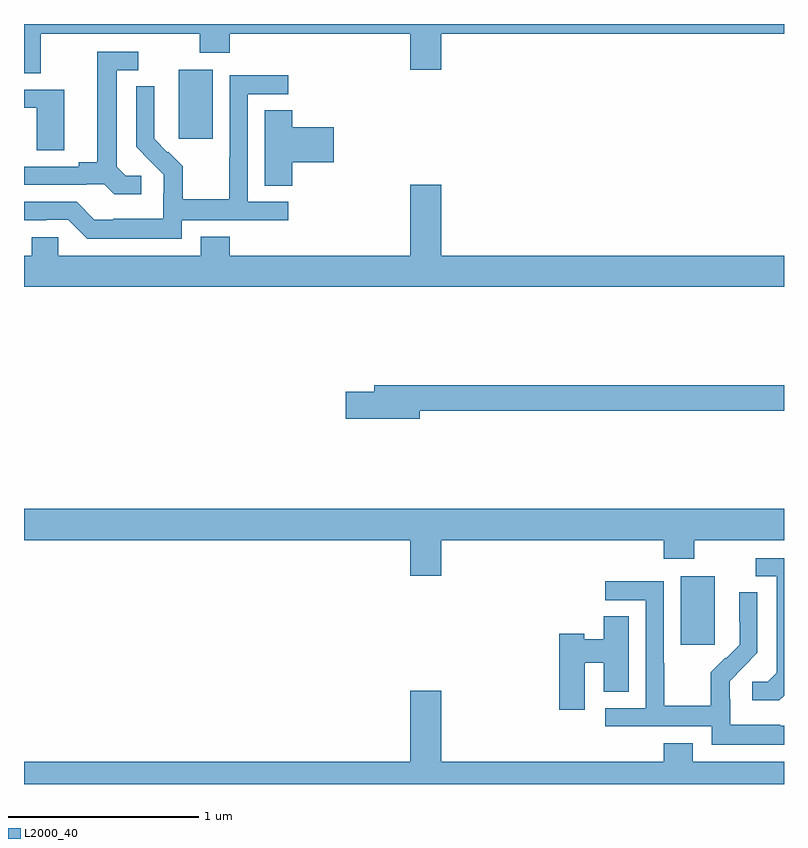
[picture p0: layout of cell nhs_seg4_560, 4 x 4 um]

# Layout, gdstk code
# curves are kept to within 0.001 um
import gdstk
lib = gdstk.Library(unit=1e-6, precision=1e-09)
def R(c, l, rs):  # rectangles x0, y0, x1, y1
    for r in rs: c.add(gdstk.rectangle(r[:2], r[2:], *l))
def P(c, l, *ps):  # polygons
    for p in ps: c.add(gdstk.Polygon(p, *l))
L2000_40 = (2000, 40)

nhs_seg4_560 = lib.new_cell('nhs_seg4_560')
R(nhs_seg4_560, L2000_40, [(142.457,765.633,142.636,765.994), (139.814,768.297,139.993,768.658)])
P(nhs_seg4_560, L2000_40, [(139.087,768.848),(139.924,768.848),(139.924,768.749),(140.084,768.749),(140.084,768.848),(141.032,768.848),(141.032,768.66),(141.196,768.66),(141.196,768.848),(143,768.848),(143,768.9),(139,768.9),(139,768.64),(139.087,768.64)],
  [(139.618,768.102),(139.536,768.102),(139.489,768.149),(139.489,768.657),(139.6,768.657),(139.6,768.753),(139.385,768.753),(139.385,768.173),(139.289,768.173),(139.289,768.15),(139,768.15),(139,768.054),(139.328,768.054),(139.328,768.057),(139.422,768.057),(139.474,768.005),(139.618,768.005)],
  [(139.83,767.868),(140.392,767.868),(140.392,767.964),(140.178,767.964),(140.178,768.531),(140.392,768.531),(140.392,768.63),(140.082,768.63),(140.082,768.2),(140.08,768.2),(140.08,767.977),(139.835,767.977),(139.835,768.151),(139.758,768.228),(139.755,768.225),(139.685,768.296),(139.686,768.572),(139.59,768.572),(139.59,768.254),(139.736,768.106),(139.736,768.009),(139.734,768.009),(139.734,767.875),(139.471,767.875),(139.471,767.871),(139.371,767.871),(139.278,767.964),(139,767.964),(139,767.868),(139.118,767.868),(139.118,767.871),(139.233,767.871),(139.333,767.771),(139.83,767.771)],
  [(139.213,768.555),(139,768.555),(139,768.459),(139.068,768.459),(139.068,768.235),(139.213,768.235)],
  [(140.411,768.173),(140.629,768.173),(140.629,768.356),(140.411,768.356),(140.411,768.446),(140.267,768.446),(140.267,768.049),(140.411,768.049)],
  [(143,767.68),(141.196,767.68),(141.196,768.055),(141.032,768.055),(141.032,767.68),(140.084,767.68),(140.084,767.779),(139.931,767.779),(139.931,767.68),(139.179,767.68),(139.179,767.778),(139.041,767.778),(139.041,767.68),(139,767.68),(139,767.516),(143,767.516)],
  [(141.082,766.864),(143,766.864),(143,767),(140.843,767),(140.843,766.964),(140.694,766.964),(140.694,766.822),(141.082,766.822)],
  [(141.196,766.184),(142.367,766.184),(142.367,766.085),(142.527,766.085),(142.527,766.184),(143,766.184),(143,766.348),(139,766.348),(139,766.184),(141.032,766.184),(141.032,765.996),(141.196,765.996)],
  [(143,765.365),(143,766.089),(142.851,766.089),(142.851,765.993),(142.961,765.993),(142.961,765.485),(142.914,765.438),(142.833,765.438),(142.833,765.341),(142.976,765.341)],
  [(143,765.207),(142.979,765.207),(142.979,765.211),(142.716,765.211),(142.716,765.345),(142.714,765.345),(142.714,765.442),(142.86,765.59),(142.86,765.908),(142.764,765.908),(142.764,765.754),(142.766,765.754),(142.766,765.632),(142.695,765.561),(142.692,765.564),(142.615,765.487),(142.615,765.313),(142.371,765.313),(142.371,765.536),(142.368,765.536),(142.368,765.966),(142.059,765.966),(142.059,765.867),(142.272,765.867),(142.272,765.3),(142.059,765.3),(142.059,765.204),(142.62,765.204),(142.62,765.107),(143,765.107)],
  [(141.952,765.539),(142.052,765.539),(142.052,765.385),(142.183,765.385),(142.183,765.782),(142.052,765.782),(142.052,765.661),(141.948,765.661),(141.948,765.692),(141.818,765.692),(141.818,765.291),(141.952,765.291)],
  [(143,765.016),(142.519,765.016),(142.519,765.115),(142.367,765.115),(142.367,765.016),(141.196,765.016),(141.196,765.391),(141.032,765.391),(141.032,765.016),(139,765.016),(139,764.9),(143,764.9)])

lib.write_gds('nhs_seg4_560.gds')
